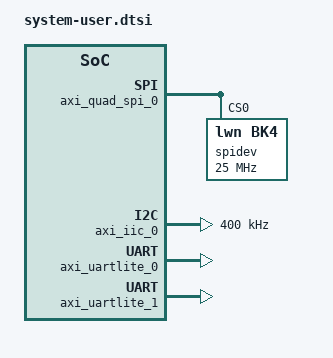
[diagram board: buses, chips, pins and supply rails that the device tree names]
&axi_quad_spi_0 {
	status = "okay";
	spidev@0x00 {
            compatible = "lwn,bk4";
            spi-max-frequency = <25000000>;
            reg = <0>;
       };
};

&axi_iic_0 {
	status = "okay";
	clock-frequency = <400000>;
};

&axi_uartlite_0 {
	status = "okay";
};

&axi_uartlite_1 {
	status = "okay";
};
